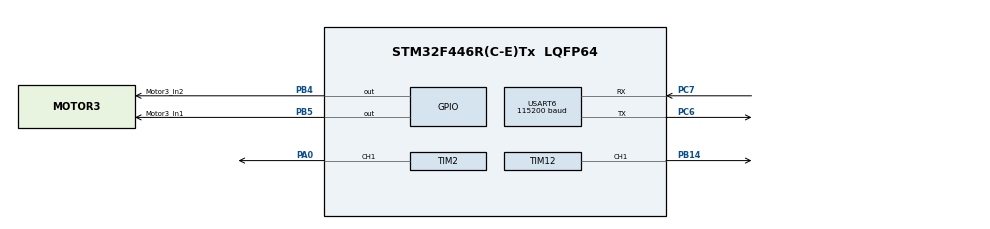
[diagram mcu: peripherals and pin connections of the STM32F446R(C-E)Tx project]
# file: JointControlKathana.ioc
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Mcu.Family=STM32F4
Mcu.Name=STM32F446R(C-E)Tx
Mcu.Package=LQFP64
NVIC.PriorityGroup=NVIC_PRIORITYGROUP_4
NVIC.TIM1_UP_TIM10_IRQn=true\:0\:0\:false\:false\:true\:true\:true\:true
PA0-WKUP.Signal=S_TIM2_CH1_ETR
PB14.Signal=S_TIM12_CH1
PB4.GPIO_Label=Motor3_In2
PB4.Signal=GPIO_Output
PB5.GPIO_Label=Motor3_In1
PB5.Signal=GPIO_Output
PC14-OSC32_IN.Mode=LSE-External-Oscillator
PC14-OSC32_IN.Signal=RCC_OSC32_IN
PC15-OSC32_OUT.Mode=LSE-External-Oscillator
PC15-OSC32_OUT.Signal=RCC_OSC32_OUT
PC6.Mode=Asynchronous
PC6.Signal=USART6_TX
PC7.Mode=Asynchronous
PC7.Signal=USART6_RX
PH0-OSC_IN.Mode=HSE-External-Oscillator
PH0-OSC_IN.Signal=RCC_OSC_IN
PH1-OSC_OUT.Mode=HSE-External-Oscillator
PH1-OSC_OUT.Signal=RCC_OSC_OUT
ProjectManager.HeapSize=0x200
ProjectManager.StackSize=0x400
ProjectManager.TargetToolchain=STM32CubeIDE
RCC.CortexFreq_Value=16000000
RCC.USBFreq_Value=96000000
RCC.VCOOutputFreq_Value=192000000
SH.S_TIM12_CH1.0=TIM12_CH1,PWM Generation1 CH1
SH.S_TIM2_CH1_ETR.0=TIM2_CH1,PWM Generation1 CH1
TIM10.Period=8399
TIM10.Prescaler=99
TIM12.Channel-PWM\ Generation1\ CH1=TIM_CHANNEL_1
TIM12.Period=7999
TIM12.Pulse-PWM\ Generation1\ CH1=630
TIM13.Period=639
TIM14.Period=639
TIM2.Channel-PWM\ Generation1\ CH1=TIM_CHANNEL_1
TIM2.Period=639
USART6.BaudRate=115200
USART6.Mode=MODE_RX
USART6.VirtualMode=VM_ASYNC
VP_TIM10_VS_ClockSourceINT.Mode=Enable_Timer
VP_TIM13_VS_ClockSourceINT.Mode=Enable_Timer
VP_TIM14_VS_ClockSourceINT.Mode=Enable_Timer
board=custom

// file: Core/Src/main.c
/* USER CODE BEGIN Header */
/**
 ******************************************************************************
 * @file           : main.c
 * @brief          : Main program body
 ******************************************************************************
 * @attention
 *
 * Copyright (c) 2023 STMicroelectronics.
 * All rights reserved.
 *
 * This software is licensed under terms that can be found in the LICENSE file
 * in the root directory of this software component.
 * If no LICENSE file comes with this software, it is provided AS-IS.
 *
 ******************************************************************************
 */
/* USER CODE END Header */
#include "main.h"
#include "tim.h"
#include "usart.h"
#include "gpio.h"

/* USER CODE BEGIN Includes */
#include "motor.h"
#include "pid.h"
#include "math.h"
#include <stdio.h>
#include <stdlib.h>
#include <time.h>
/* USER CODE END Includes */

/* USER CODE BEGIN PD */
#define FILTER_SIZE 5
#define RandomNumber(Min, Max)	((float)(rand()) / (float)RAND_MAX) * (Max - Min) + Min
/* USER CODE END PD */

/* USER CODE BEGIN PV */

extern Motor_t motor3;

extern PID_t pid3;

/* QUESTE VARIABILI SERVONO SOLO PER LA RACCOLTA DEL DATASET */

uint32_t start_time;

float dc = 30; /* NELLA RACCOLTA DEL DATASET CON SEGNALE COSTANTE, CAMBIARE QUESTO VALORE
 * (altrimenti commentarlo per la raccolta del dataset con segnale casuale) */

float amplitude_dc = 100; /* NELLA RACCOLTA DEL DATASET CON SEGNALE , CAMBIARE QUESTO VALORE
 * (altrimenti commentarlo per la raccolta del dataset con segnale costante) */

uint32_t tickstart_changedir = 0;
uint32_t wait_change = 3000;
uint8_t set_wait = 0;
uint8_t change_dir = 0;
uint8_t UART6_rxBuffer[2] = {0};
uint16_t value = 0;
/* USER CODE END PV */

void SystemClock_Config(void);
/* USER CODE BEGIN PFP */

int16_t applyMovingAverageFilter(int16_t* data, int dataSize) {
  int32_t filteredValue = 0; // Cambiato il tipo in int32_t per evitare overflow
  int filterCount = 0;

  // Calcola la somma dei valori da filtrare
  for (int i = 0; i < dataSize; i++) {
    filteredValue += data[i];
    filterCount++;
  }

  // Calcola la media e converte il risultato in int16_t
  int16_t averagedValue = (int16_t)(filteredValue / filterCount);

  return averagedValue;
}
void control_law(Motor_t *motor, PID_t * pid,float target){
	motor->angle_target = target;
	float dc = pid_control(pid, motor);
	if(fabsf(dc) > 0){
		__MOTOR_SETDC(motor,dc);
		if(motor->dir > 0)
			__MOTOR_MOVE_CLOCKWISE(motor);
		else if (motor->dir < 0)
			__MOTOR_MOVE_COUNTERCLOCKWISE(motor);
	}
	else{
		__MOTOR_SETDC(motor,dc);
		__MOTOR_STOPMOTOR(motor);
	}
}

/* USER CODE END PFP */

int main(void)
{

  /* MCU Configuration--------------------------------------------------------*/

  /* Reset of all peripherals, Initializes the Flash interface and the Systick. */
  HAL_Init();

  /* Configure the system clock */
  SystemClock_Config();

  /* Initialize all configured peripherals */
  MX_GPIO_Init();
  MX_TIM12_Init();
  MX_TIM10_Init();
  MX_TIM13_Init();
  MX_TIM14_Init();
  MX_USART6_UART_Init();
  MX_TIM2_Init();
  /* USER CODE BEGIN 2 */

//	HAL_TIM_PWM_Start(&htim2, TIM_CHANNEL_1); // PWM Motor 3
	HAL_TIM_PWM_Start(&htim2, TIM_CHANNEL_1); // PWM Motor 3

	HAL_TIM_Base_Start_IT(&htim10);
  /* USER CODE END 2 */

  /* Infinite loop */
  /* USER CODE BEGIN WHILE */

	/* PER DATASET DC COSTANTE */
	// Commentarle tutte tranne la riga relativa al tipo di acquisizione
	//	__MOTOR_SETDC(&motor3, dc);

	/* PER DATASET RANDOM DC */
	//	__MOTOR_SETDC(&motor3,RandomNumber(0, amplitude_dc));

//	uint32_t tickstart_initUsart = HAL_GetTick();
//	uint32_t wait_initUsart = 3000;
//
//	/* Add a freq to guarantee minimum wait */
//	if (wait_initUsart < HAL_MAX_DELAY)
//	{
//		wait_initUsart += (uint32_t)(uwTickFreq);
//	}
//	uint8_t i_U = 0;
//	uint8_t j_U = 1;
//
//	while((HAL_GetTick() - tickstart_initUsart) < wait_initUsart)
//	{
//		HAL_UART_Receive(&huart6, UART6_rxBuffer, sizeof(UART6_rxBuffer), HAL_MAX_DELAY);
//		if(UART6_rxBuffer[0] == 1){
//			i_U = 1;
//			j_U = 0;
//		}
//	}
//	uint8_t change_dir = 0;
//	uint32_t wait = 4000;
//	uint32_t tickstart = HAL_GetTick();
//	if (wait < HAL_MAX_DELAY){
//		wait += (uint32_t)(uwTickFreq);
//	}
	int16_t received = 0;
	int16_t data[FILTER_SIZE] = {0};
	while (1)
	{
		__MOTOR_SETDC(&motor3, 30);
		__MOTOR_MOVE_COUNTERCLOCKWISE(&motor3);
//		if(motor3.angular_position > 250){
//			__MOTOR_MOVE_CLOCKWISE(&motor3);
//		}
//		if(motor3.angular_position < 10){
//			__MOTOR_MOVE_COUNTERCLOCKWISE(&motor3);
//		}

		HAL_UART_Receive(&huart6, UART6_rxBuffer, sizeof(UART6_rxBuffer), HAL_MAX_DELAY);
//		motor3.angular_position = ((uint16_t)UART6_rxBuffer[i_U] << 8) | UART6_rxBuffer[j_U];
		received = ((uint16_t)UART6_rxBuffer[0] << 8) | UART6_rxBuffer[1];
		motor3.angular_position = received;
//		motor3.angular_position = fabsf(received) < 350 && received >= 0  ? received : motor3.angular_position;

		/* Add a freq to guarantee minimum wait */

//		if((HAL_GetTick() - tickstart) >= wait){
//			if(change_dir == 0){
//				change_dir = 1;
//			}
//			else{
//				change_dir = 0;
//			}
//			tickstart = HAL_GetTick();
//		}

    /* USER CODE END WHILE */

	}
}

void SystemClock_Config(void)
{
  RCC_OscInitTypeDef RCC_OscInitStruct = {0};
  RCC_ClkInitTypeDef RCC_ClkInitStruct = {0};

  /** Configure the main internal regulator output voltage
  */
  __HAL_RCC_PWR_CLK_ENABLE();
  __HAL_PWR_VOLTAGESCALING_CONFIG(PWR_REGULATOR_VOLTAGE_SCALE3);

  /** Initializes the RCC Oscillators according to the specified parameters
  * in the RCC_OscInitTypeDef structure.
  */
  RCC_OscInitStruct.OscillatorType = RCC_OSCILLATORTYPE_HSI;
  RCC_OscInitStruct.HSIState = RCC_HSI_ON;
  RCC_OscInitStruct.HSICalibrationValue = RCC_HSICALIBRATION_DEFAULT;
  RCC_OscInitStruct.PLL.PLLState = RCC_PLL_NONE;
  if (HAL_RCC_OscConfig(&RCC_OscInitStruct) != HAL_OK)
  {
    Error_Handler();
  }

  /** Initializes the CPU, AHB and APB buses clocks
  */
  RCC_ClkInitStruct.ClockType = RCC_CLOCKTYPE_HCLK|RCC_CLOCKTYPE_SYSCLK
                              |RCC_CLOCKTYPE_PCLK1|RCC_CLOCKTYPE_PCLK2;
  RCC_ClkInitStruct.SYSCLKSource = RCC_SYSCLKSOURCE_HSI;
  RCC_ClkInitStruct.AHBCLKDivider = RCC_SYSCLK_DIV1;
  RCC_ClkInitStruct.APB1CLKDivider = RCC_HCLK_DIV1;
  RCC_ClkInitStruct.APB2CLKDivider = RCC_HCLK_DIV1;

  if (HAL_RCC_ClockConfig(&RCC_ClkInitStruct, FLASH_LATENCY_0) != HAL_OK)
  {
    Error_Handler();
  }
}

/* USER CODE BEGIN 4 */
void HAL_TIM_PeriodElapsedCallback(TIM_HandleTypeDef *htim){
	if(htim->Instance == TIM10){
		/* Questa funzione viene chiamata automaticamente dalla libreria HAL ogni volta che
		 * il contatore del timer 10 ha raggiunto il suo valore massimo (periodo) e si è azzerato */

		__disable_irq();
		/* Funzioni misure dataset*/
		/*Lasciare decommentata solo una delle seguenti linee di codice in base al tipo di misura e i parametri cambiati nel main*/

		//randomDC_EveryTS_DataSet(&motor3);
		//randomDC_Every3Sec_DataSet(&motor3);
//		constantDC(&motor3);

		__enable_irq();
	}
}

void constantDC(Motor_t *motor){
	if(set_wait == 0){
		uint32_t tickstart_changedir = HAL_GetTick();
		if (wait_change < HAL_MAX_DELAY)
		{
			wait_change += (uint32_t)(uwTickFreq);
		}
		set_wait = 1;
	}
	//	__MOTOR_SETDC(motor,dc);
	//	if(change_dir == 0){
	//		__MOTOR_MOVE_CLOCKWISE(motor);
	//		motor->dir = 1;
	//	}
	//	else{
	//		__MOTOR_MOVE_COUNTERCLOCKWISE(motor);
	//		motor->dir = -1;
	//	}

	__MOTOR_SETDC(motor,dc);
	if((HAL_GetTick() - tickstart_changedir) >= wait_change){
		/* Eseguito ogni wait_change (SEC) */
		motor->dir = motor->dir < 0 ? 1 : -1;
		if(motor->dir == - 1){
			__MOTOR_MOVE_COUNTERCLOCKWISE(motor);
		}
		else{
			__MOTOR_MOVE_CLOCKWISE(motor);
		}
		tickstart_changedir = HAL_GetTick();
	}
}

void randomDC_EveryTS_DataSet(Motor_t *motor){

	__MOTOR_SETDC(motor, RandomNumber(0, amplitude_dc));
	if(change_dir == 0){
		__MOTOR_MOVE_CLOCKWISE(motor);
		motor->dir = 1;
	}
	else{
		__MOTOR_MOVE_COUNTERCLOCKWISE(motor);
		motor->dir = -1;
	}

	/* LIMITA IL RANGE OPERATIVO DEL BRACCIO TRA 20° E 200° */
	if(motor->angular_position < 20){
		__MOTOR_MOVE_CLOCKWISE(motor);
		if(change_dir == 1){
			change_dir = 0;
			motor->dir = 1;
		}
	}
	else if(motor->angular_position >= 200){
		__MOTOR_MOVE_COUNTERCLOCKWISE(motor);
		change_dir = 1;
		motor->dir = -1;
	}
}
void randomDC_Every3Sec_DataSet(Motor_t *motor){

	/* CONTROLLA SE E' STATO SETTATO L'ISTANTE INIZIALE DELLA MISURA DEL TEMPO PER CAMBIARE DIREZIONE (FATTO SOLO 1 VOLTA) */
	if(set_wait == 0){
		uint32_t tickstart_changedir = HAL_GetTick();
		if (wait_change < HAL_MAX_DELAY)
		{
			wait_change += (uint32_t)(uwTickFreq);
		}
		set_wait = 1;
	}

	if(change_dir == 0){
		__MOTOR_MOVE_CLOCKWISE(motor);
		motor->dir = 1;
	}
	else{
		__MOTOR_MOVE_COUNTERCLOCKWISE(motor);
		motor->dir = -1;
	}

	/* LIMITA IL RANGE OPERATIVO DEL BRACCIO TRA 20° E 200° */
	if(motor->angular_position < 20){
		__MOTOR_MOVE_CLOCKWISE(motor);
		if(change_dir == 1){
			change_dir = 0;
			motor->dir = 1;
		}
	}
	else if(motor->angular_position >= 200){
		__MOTOR_MOVE_COUNTERCLOCKWISE(motor);
		change_dir = 1;
		motor->dir = -1;
	}

	if((HAL_GetTick() - tickstart_changedir) >= wait_change){
		/* Eseguito ogni wait_change (SEC) */
		__MOTOR_SETDC(motor,RandomNumber(0, amplitude_dc));
		tickstart_changedir = HAL_GetTick();
	}
}

/* USER CODE END 4 */

void Error_Handler(void)
{
	__disable_irq();
	while (1)
	{
	}
}
